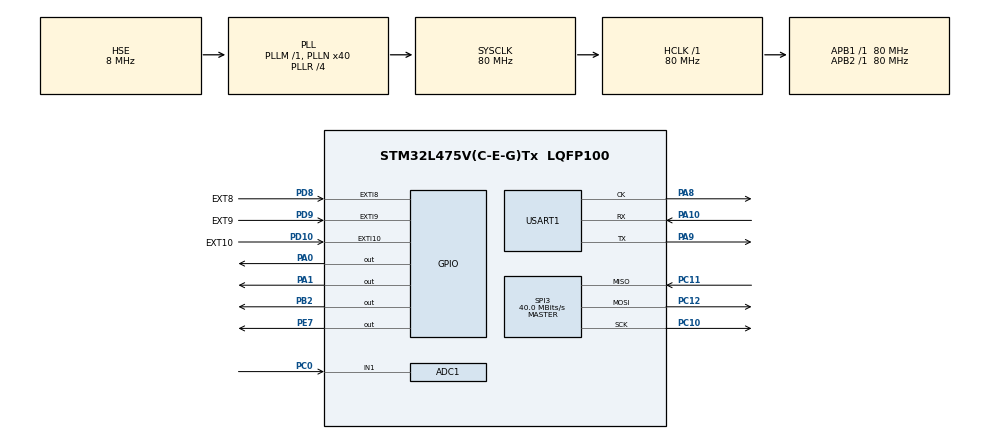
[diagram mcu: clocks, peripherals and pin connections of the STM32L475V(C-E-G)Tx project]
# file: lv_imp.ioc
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ADC1.Channel-0\#ChannelRegularConversion=ADC_CHANNEL_1
ADC1.NbrOfConversionFlag=1
ADC1.OffsetNumber-0\#ChannelRegularConversion=ADC_OFFSET_NONE
ADC1.Rank-0\#ChannelRegularConversion=1
ADC1.SamplingTime-0\#ChannelRegularConversion=ADC_SAMPLETIME_2CYCLES_5
ADC1.master=1
Dma.MEMTOMEM.0.Direction=DMA_MEMORY_TO_MEMORY
Dma.MEMTOMEM.0.Instance=DMA2_Channel7
Dma.MEMTOMEM.0.MemDataAlignment=DMA_MDATAALIGN_HALFWORD
Dma.MEMTOMEM.0.MemInc=DMA_MINC_ENABLE
Dma.MEMTOMEM.0.Mode=DMA_NORMAL
Dma.MEMTOMEM.0.PeriphDataAlignment=DMA_PDATAALIGN_HALFWORD
Dma.MEMTOMEM.0.PeriphInc=DMA_PINC_ENABLE
Dma.MEMTOMEM.0.Priority=DMA_PRIORITY_LOW
Dma.Request0=MEMTOMEM
Mcu.Family=STM32L4
Mcu.Name=STM32L475V(C-E-G)Tx
Mcu.Package=LQFP100
NVIC.DMA2_Channel7_IRQn=true\:1\:0\:true\:false\:true\:true\:true
NVIC.EXTI15_10_IRQn=true\:0\:0\:false\:false\:true\:true\:true
NVIC.EXTI9_5_IRQn=true\:0\:0\:false\:false\:true\:true\:true
NVIC.PriorityGroup=NVIC_PRIORITYGROUP_4
PA0.GPIO_ModeDefaultOutputPP=GPIO_MODE_OUTPUT_PP
PA0.GPIO_PuPd=GPIO_PULLUP
PA0.GPIO_Speed=GPIO_SPEED_FREQ_MEDIUM
PA0.PinState=GPIO_PIN_RESET
PA0.Signal=GPIO_Output
PA1.GPIO_ModeDefaultOutputPP=GPIO_MODE_OUTPUT_PP
PA1.GPIO_PuPd=GPIO_PULLUP
PA1.GPIO_Speed=GPIO_SPEED_FREQ_MEDIUM
PA1.PinState=GPIO_PIN_RESET
PA1.Signal=GPIO_Output
PA10.Mode=Synchronous
PA10.Signal=USART1_RX
PA8.Mode=Synchronous
PA8.Signal=USART1_CK
PA9.Mode=Synchronous
PA9.Signal=USART1_TX
PB2.GPIO_ModeDefaultOutputPP=GPIO_MODE_OUTPUT_PP
PB2.GPIO_PuPd=GPIO_PULLUP
PB2.GPIO_Speed=GPIO_SPEED_FREQ_MEDIUM
PB2.PinState=GPIO_PIN_RESET
PB2.Signal=GPIO_Output
PC0.Signal=ADCx_IN1
PC10.Mode=Full_Duplex_Master
PC10.Signal=SPI3_SCK
PC11.Mode=Full_Duplex_Master
PC11.Signal=SPI3_MISO
PC12.Mode=Full_Duplex_Master
PC12.Signal=SPI3_MOSI
PD10.GPIO_Label=EXT10
PD10.GPIO_ModeDefaultEXTI=GPIO_MODE_IT_RISING
PD10.GPIO_PuPd=GPIO_NOPULL
PD10.Signal=GPXTI10
PD8.GPIO_Label=EXT8
PD8.GPIO_ModeDefaultEXTI=GPIO_MODE_IT_RISING
PD8.GPIO_PuPd=GPIO_NOPULL
PD8.Signal=GPXTI8
PD9.GPIO_Label=EXT9
PD9.GPIO_ModeDefaultEXTI=GPIO_MODE_IT_RISING
PD9.GPIO_PuPd=GPIO_NOPULL
PD9.Signal=GPXTI9
PE7.GPIO_ModeDefaultOutputPP=GPIO_MODE_OUTPUT_PP
PE7.GPIO_PuPd=GPIO_PULLUP
PE7.GPIO_Speed=GPIO_SPEED_FREQ_MEDIUM
PE7.PinState=GPIO_PIN_SET
PE7.Signal=GPIO_Output
PH0-OSC_IN\ (PH0).Mode=HSE-External-Oscillator
PH0-OSC_IN\ (PH0).Signal=RCC_OSC_IN
PH1-OSC_OUT\ (PH1).Mode=HSE-External-Oscillator
PH1-OSC_OUT\ (PH1).Signal=RCC_OSC_OUT
ProjectManager.HeapSize=0x200
ProjectManager.StackSize=0x400
ProjectManager.TargetToolchain=SW4STM32
RCC.ADCFreq_Value=32000000
RCC.AHBFreq_Value=80000000
RCC.APB1Freq_Value=80000000
RCC.APB1TimFreq_Value=80000000
RCC.APB2Freq_Value=80000000
RCC.APB2TimFreq_Value=80000000
RCC.CortexFreq_Value=80000000
RCC.HCLKFreq_Value=80000000
RCC.HSE_VALUE=8000000
RCC.HSI_VALUE=16000000
RCC.LSE_VALUE=32768
RCC.MSI_VALUE=4000000
RCC.PLLN=40
RCC.PLLR=RCC_PLLR_DIV4
RCC.PLLSourceVirtual=RCC_PLLSOURCE_HSE
RCC.SYSCLKFreq_VALUE=80000000
RCC.SYSCLKSource=RCC_SYSCLKSOURCE_PLLCLK
RCC.USBFreq_Value=32000000
RCC.VCOOutputFreq_Value=320000000
SH.ADCx_IN1.0=ADC1_IN1,IN1-Single-Ended
SPI3.BaudRatePrescaler=SPI_BAUDRATEPRESCALER_2
SPI3.CLKPhase=SPI_PHASE_2EDGE
SPI3.CLKPolarity=SPI_POLARITY_HIGH
SPI3.CalculateBaudRate=40.0 MBits/s
SPI3.DataSize=SPI_DATASIZE_8BIT
SPI3.Direction=SPI_DIRECTION_2LINES
SPI3.Mode=SPI_MODE_MASTER
SPI3.VirtualType=VM_MASTER
USART1.VirtualMode-Synchronous=VM_SYNC
VP_TIM3_VS_ClockSourceINT.Mode=Internal
board=custom

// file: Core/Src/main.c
/* USER CODE BEGIN Header */
/**
  ******************************************************************************
  * @file           : main.c
  * @brief          : Main program body
  ******************************************************************************
  * @attention
  *
  * <h2><center>&copy; Copyright (c) 2023 STMicroelectronics.
  * All rights reserved.</center></h2>
  *
  * This software component is licensed by ST under BSD 3-Clause license,
  * the "License"; You may not use this file except in compliance with the
  * License. You may obtain a copy of the License at:
  *                        opensource.org/licenses/BSD-3-Clause
  *
  ******************************************************************************
  */
/* USER CODE END Header */
#include "main.h"

/* USER CODE BEGIN Includes */
#include"lvgl.h"
#include"lv_port_disp.h"
#include"lv_port_indev.h"
#include"timer.h"
#include"aht10.h"
#include"myGui.h"
#include"delay.h"
#include"lcd.h"
#include"adc.h"
/* USER CODE END Includes */

/* USER CODE BEGIN PTD */
static float temperature;               // temperature
static float humidity;                  // humidity
/* USER CODE END PTD */

ADC_HandleTypeDef hadc1;

SPI_HandleTypeDef hspi3;

TIM_HandleTypeDef htim3;

USART_HandleTypeDef husart1;

DMA_HandleTypeDef hdma_memtomem_dma2_channel7;

void SystemClock_Config(void);
static void MX_GPIO_Init(void);
static void MX_SPI3_Init(void);
static void MX_DMA_Init(void);
static void MX_TIM3_Init(void);
static void MX_USART1_Init(void);
static void MX_ADC1_Init(void);
/* USER CODE BEGIN PFP */
static void lvgl_init( void )
{

    lv_init();
    lv_port_disp_init();
    lv_port_indev_init();
    mygui();

    // lv_port_fs_init();

}

/* USER CODE END PFP */

int main(void)
{
  /* USER CODE BEGIN 1 */
    u8 t = 0;u16 adcx,temp;
  /* USER CODE END 1 */

  /* MCU Configuration--------------------------------------------------------*/

  /* Reset of all peripherals, Initializes the Flash interface and the Systick. */
  HAL_Init();

  /* Configure the system clock */
  SystemClock_Config();

  /* Initialize all configured peripherals */
  MX_GPIO_Init();
  MX_SPI3_Init();
  MX_DMA_Init();
  MX_TIM3_Init();
  MX_USART1_Init();
  MX_ADC1_Init();
  /* USER CODE BEGIN 2 */
    TIM3_Init(10, 8000 - 1);
    delay_init(80);

    lvgl_init();
    AHT10_Init();
    MY_ADC_Init();

  /* USER CODE END 2 */

  /* Infinite loop */
  while (1)
  {

    /* USER CODE BEGIN 3 */
      LCD_ShowString(30, 160, 200, 16, 16, "ADC1_CH3_VAL(PC2):");
      adcx = Get_Adc_Average(ADC_CHANNEL_3, 20);
      LCD_ShowxNum(174, 160, adcx, 4, 16, 0);

      if(t % 10 == 0) //每100ms读取一次
      {
          temperature = AHT10_Read_Temperature();
          humidity = AHT10_Read_Humidity();
          LCD_ShowChar(40 + 80, 185, ' ', 16);	//去掉负号
          LCD_ShowNum(40 + 88, 185, temperature, 2, 16);					//显示温度整数
          LCD_ShowNum(40 + 112, 185, (u32)(temperature * 10) % 10, 2, 16);	//显示温度小数
          LCD_ShowChar(40 + 105, 185, '.', 16);
          LCD_ShowChar(40 + 105, 205, '.', 16);
          LCD_ShowNum(40 + 88, 205, humidity, 2, 16);						//显示湿度整数
          LCD_ShowNum(40 + 112, 205, (u32)(humidity * 10) % 10, 2, 16);	//显示湿度小数
          LCD_ShowString(40 + 130, 205,4,2,16,"%%");
          if(temperature>hum||humidity<30)
          {
              POINT_COLOR=BRED;
              HAL_GPIO_WritePin(GPIOA, GPIO_PIN_0, GPIO_PIN_RESET);
              HAL_GPIO_WritePin(GPIOA, GPIO_PIN_1, GPIO_PIN_SET);
              beep(1000);
          }
          else
          {
              POINT_COLOR=GREEN ;

          }

      }
      delay_ms(10);
      t++;

      lv_task_handler();

  }
  /* USER CODE END 3 */
}

void SystemClock_Config(void)
{
  RCC_OscInitTypeDef RCC_OscInitStruct = {0};
  RCC_ClkInitTypeDef RCC_ClkInitStruct = {0};

  /** Configure the main internal regulator output voltage
  */
  if (HAL_PWREx_ControlVoltageScaling(PWR_REGULATOR_VOLTAGE_SCALE1) != HAL_OK)
  {
    Error_Handler();
  }
  /** Initializes the RCC Oscillators according to the specified parameters
  * in the RCC_OscInitTypeDef structure.
  */
  RCC_OscInitStruct.OscillatorType = RCC_OSCILLATORTYPE_HSE;
  RCC_OscInitStruct.HSEState = RCC_HSE_ON;
  RCC_OscInitStruct.PLL.PLLState = RCC_PLL_ON;
  RCC_OscInitStruct.PLL.PLLSource = RCC_PLLSOURCE_HSE;
  RCC_OscInitStruct.PLL.PLLM = 1;
  RCC_OscInitStruct.PLL.PLLN = 40;
  RCC_OscInitStruct.PLL.PLLP = RCC_PLLP_DIV7;
  RCC_OscInitStruct.PLL.PLLQ = RCC_PLLQ_DIV2;
  RCC_OscInitStruct.PLL.PLLR = RCC_PLLR_DIV4;
  if (HAL_RCC_OscConfig(&RCC_OscInitStruct) != HAL_OK)
  {
    Error_Handler();
  }
  /** Initializes the CPU, AHB and APB buses clocks
  */
  RCC_ClkInitStruct.ClockType = RCC_CLOCKTYPE_HCLK|RCC_CLOCKTYPE_SYSCLK
                              |RCC_CLOCKTYPE_PCLK1|RCC_CLOCKTYPE_PCLK2;
  RCC_ClkInitStruct.SYSCLKSource = RCC_SYSCLKSOURCE_PLLCLK;
  RCC_ClkInitStruct.AHBCLKDivider = RCC_SYSCLK_DIV1;
  RCC_ClkInitStruct.APB1CLKDivider = RCC_HCLK_DIV1;
  RCC_ClkInitStruct.APB2CLKDivider = RCC_HCLK_DIV1;

  if (HAL_RCC_ClockConfig(&RCC_ClkInitStruct, FLASH_LATENCY_4) != HAL_OK)
  {
    Error_Handler();
  }
}

static void MX_ADC1_Init(void)
{

  ADC_MultiModeTypeDef multimode = {0};
  ADC_ChannelConfTypeDef sConfig = {0};

  /** Common config
  */
  hadc1.Instance = ADC1;
  hadc1.Init.ClockPrescaler = ADC_CLOCK_ASYNC_DIV1;
  hadc1.Init.Resolution = ADC_RESOLUTION_12B;
  hadc1.Init.DataAlign = ADC_DATAALIGN_RIGHT;
  hadc1.Init.ScanConvMode = ADC_SCAN_DISABLE;
  hadc1.Init.EOCSelection = ADC_EOC_SINGLE_CONV;
  hadc1.Init.LowPowerAutoWait = DISABLE;
  hadc1.Init.ContinuousConvMode = DISABLE;
  hadc1.Init.NbrOfConversion = 1;
  hadc1.Init.DiscontinuousConvMode = DISABLE;
  hadc1.Init.ExternalTrigConv = ADC_SOFTWARE_START;
  hadc1.Init.ExternalTrigConvEdge = ADC_EXTERNALTRIGCONVEDGE_NONE;
  hadc1.Init.DMAContinuousRequests = DISABLE;
  hadc1.Init.Overrun = ADC_OVR_DATA_PRESERVED;
  hadc1.Init.OversamplingMode = DISABLE;
  if (HAL_ADC_Init(&hadc1) != HAL_OK)
  {
    Error_Handler();
  }
  /** Configure the ADC multi-mode
  */
  multimode.Mode = ADC_MODE_INDEPENDENT;
  if (HAL_ADCEx_MultiModeConfigChannel(&hadc1, &multimode) != HAL_OK)
  {
    Error_Handler();
  }
  /** Configure Regular Channel
  */
  sConfig.Channel = ADC_CHANNEL_1;
  sConfig.Rank = ADC_REGULAR_RANK_1;
  sConfig.SamplingTime = ADC_SAMPLETIME_2CYCLES_5;
  sConfig.SingleDiff = ADC_SINGLE_ENDED;
  sConfig.OffsetNumber = ADC_OFFSET_NONE;
  sConfig.Offset = 0;
  if (HAL_ADC_ConfigChannel(&hadc1, &sConfig) != HAL_OK)
  {
    Error_Handler();
  }

}

static void MX_SPI3_Init(void)
{

  /* SPI3 parameter configuration*/
  hspi3.Instance = SPI3;
  hspi3.Init.Mode = SPI_MODE_MASTER;
  hspi3.Init.Direction = SPI_DIRECTION_2LINES;
  hspi3.Init.DataSize = SPI_DATASIZE_8BIT;
  hspi3.Init.CLKPolarity = SPI_POLARITY_HIGH;
  hspi3.Init.CLKPhase = SPI_PHASE_2EDGE;
  hspi3.Init.NSS = SPI_NSS_SOFT;
  hspi3.Init.BaudRatePrescaler = SPI_BAUDRATEPRESCALER_2;
  hspi3.Init.FirstBit = SPI_FIRSTBIT_MSB;
  hspi3.Init.TIMode = SPI_TIMODE_DISABLE;
  hspi3.Init.CRCCalculation = SPI_CRCCALCULATION_DISABLE;
  hspi3.Init.CRCPolynomial = 7;
  hspi3.Init.CRCLength = SPI_CRC_LENGTH_DATASIZE;
  hspi3.Init.NSSPMode = SPI_NSS_PULSE_DISABLE;
  if (HAL_SPI_Init(&hspi3) != HAL_OK)
  {
    Error_Handler();
  }

}

static void MX_TIM3_Init(void)
{

  TIM_ClockConfigTypeDef sClockSourceConfig = {0};
  TIM_MasterConfigTypeDef sMasterConfig = {0};

  htim3.Instance = TIM3;
  htim3.Init.Prescaler = 0;
  htim3.Init.CounterMode = TIM_COUNTERMODE_UP;
  htim3.Init.Period = 65535;
  htim3.Init.ClockDivision = TIM_CLOCKDIVISION_DIV1;
  htim3.Init.AutoReloadPreload = TIM_AUTORELOAD_PRELOAD_DISABLE;
  if (HAL_TIM_Base_Init(&htim3) != HAL_OK)
  {
    Error_Handler();
  }
  sClockSourceConfig.ClockSource = TIM_CLOCKSOURCE_INTERNAL;
  if (HAL_TIM_ConfigClockSource(&htim3, &sClockSourceConfig) != HAL_OK)
  {
    Error_Handler();
  }
  sMasterConfig.MasterOutputTrigger = TIM_TRGO_RESET;
  sMasterConfig.MasterSlaveMode = TIM_MASTERSLAVEMODE_DISABLE;
  if (HAL_TIMEx_MasterConfigSynchronization(&htim3, &sMasterConfig) != HAL_OK)
  {
    Error_Handler();
  }

}

static void MX_USART1_Init(void)
{

  husart1.Instance = USART1;
  husart1.Init.BaudRate = 115200;
  husart1.Init.WordLength = USART_WORDLENGTH_8B;
  husart1.Init.StopBits = USART_STOPBITS_1;
  husart1.Init.Parity = USART_PARITY_NONE;
  husart1.Init.Mode = USART_MODE_TX_RX;
  husart1.Init.CLKPolarity = USART_POLARITY_LOW;
  husart1.Init.CLKPhase = USART_PHASE_1EDGE;
  husart1.Init.CLKLastBit = USART_LASTBIT_DISABLE;
  if (HAL_USART_Init(&husart1) != HAL_OK)
  {
    Error_Handler();
  }

}

static void MX_DMA_Init(void)
{

  /* DMA controller clock enable */
  __HAL_RCC_DMA2_CLK_ENABLE();

  /* Configure DMA request hdma_memtomem_dma2_channel7 on DMA2_Channel7 */
  hdma_memtomem_dma2_channel7.Instance = DMA2_Channel7;
  hdma_memtomem_dma2_channel7.Init.Request = DMA_REQUEST_0;
  hdma_memtomem_dma2_channel7.Init.Direction = DMA_MEMORY_TO_MEMORY;
  hdma_memtomem_dma2_channel7.Init.PeriphInc = DMA_PINC_ENABLE;
  hdma_memtomem_dma2_channel7.Init.MemInc = DMA_MINC_ENABLE;
  hdma_memtomem_dma2_channel7.Init.PeriphDataAlignment = DMA_PDATAALIGN_HALFWORD;
  hdma_memtomem_dma2_channel7.Init.MemDataAlignment = DMA_MDATAALIGN_HALFWORD;
  hdma_memtomem_dma2_channel7.Init.Mode = DMA_NORMAL;
  hdma_memtomem_dma2_channel7.Init.Priority = DMA_PRIORITY_LOW;
  if (HAL_DMA_Init(&hdma_memtomem_dma2_channel7) != HAL_OK)
  {
    Error_Handler( );
  }

  /* DMA interrupt init */
  /* DMA2_Channel7_IRQn interrupt configuration */
  HAL_NVIC_SetPriority(DMA2_Channel7_IRQn, 1, 0);
  HAL_NVIC_EnableIRQ(DMA2_Channel7_IRQn);

}

static void MX_GPIO_Init(void)
{
  GPIO_InitTypeDef GPIO_InitStruct = {0};

  /* GPIO Ports Clock Enable */
  __HAL_RCC_GPIOH_CLK_ENABLE();
  __HAL_RCC_GPIOC_CLK_ENABLE();
  __HAL_RCC_GPIOA_CLK_ENABLE();
  __HAL_RCC_GPIOB_CLK_ENABLE();
  __HAL_RCC_GPIOE_CLK_ENABLE();
  __HAL_RCC_GPIOD_CLK_ENABLE();

  /*Configure GPIO pin Output Level */
  HAL_GPIO_WritePin(GPIOA, GPIO_PIN_0|GPIO_PIN_1, GPIO_PIN_RESET);

  /*Configure GPIO pin Output Level */
  HAL_GPIO_WritePin(GPIOB, GPIO_PIN_2, GPIO_PIN_RESET);

  /*Configure GPIO pin Output Level */
  HAL_GPIO_WritePin(GPIOE, GPIO_PIN_7, GPIO_PIN_SET);

  /*Configure GPIO pins : PA0 PA1 */
  GPIO_InitStruct.Pin = GPIO_PIN_0|GPIO_PIN_1;
  GPIO_InitStruct.Mode = GPIO_MODE_OUTPUT_PP;
  GPIO_InitStruct.Pull = GPIO_PULLUP;
  GPIO_InitStruct.Speed = GPIO_SPEED_FREQ_MEDIUM;
  HAL_GPIO_Init(GPIOA, &GPIO_InitStruct);

  /*Configure GPIO pin : PB2 */
  GPIO_InitStruct.Pin = GPIO_PIN_2;
  GPIO_InitStruct.Mode = GPIO_MODE_OUTPUT_PP;
  GPIO_InitStruct.Pull = GPIO_PULLUP;
  GPIO_InitStruct.Speed = GPIO_SPEED_FREQ_MEDIUM;
  HAL_GPIO_Init(GPIOB, &GPIO_InitStruct);

  /*Configure GPIO pin : PE7 */
  GPIO_InitStruct.Pin = GPIO_PIN_7;
  GPIO_InitStruct.Mode = GPIO_MODE_OUTPUT_PP;
  GPIO_InitStruct.Pull = GPIO_PULLUP;
  GPIO_InitStruct.Speed = GPIO_SPEED_FREQ_MEDIUM;
  HAL_GPIO_Init(GPIOE, &GPIO_InitStruct);

  /*Configure GPIO pins : EXT8_Pin EXT9_Pin EXT10_Pin */
  GPIO_InitStruct.Pin = EXT8_Pin|EXT9_Pin|EXT10_Pin;
  GPIO_InitStruct.Mode = GPIO_MODE_IT_RISING;
  GPIO_InitStruct.Pull = GPIO_NOPULL;
  HAL_GPIO_Init(GPIOD, &GPIO_InitStruct);

  /* EXTI interrupt init*/
  HAL_NVIC_SetPriority(EXTI9_5_IRQn, 0, 0);
  HAL_NVIC_EnableIRQ(EXTI9_5_IRQn);

  HAL_NVIC_SetPriority(EXTI15_10_IRQn, 0, 0);
  HAL_NVIC_EnableIRQ(EXTI15_10_IRQn);

}

void Error_Handler(void)
{
  __disable_irq();
  while (1)
  {
  }
}

/************************ (C) COPYRIGHT STMicroelectronics *****END OF FILE****/
